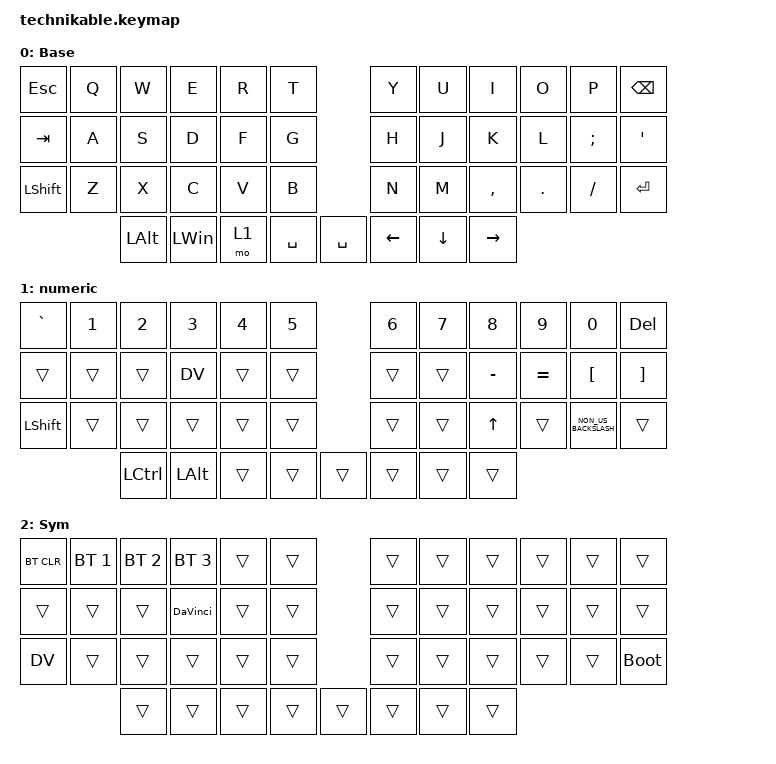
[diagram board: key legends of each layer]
/*
 * Copyright (c) 2022 Pete Johanson
 *
 * SPDX-License-Identifier: MIT
 */

#include <behaviors.dtsi>
#include <dt-bindings/zmk/bt.h>
#include <dt-bindings/zmk/keys.h>

#define BAS_L 0
#define NAV_L 1
#define NUM_L 2
#define SYM_L 3

// Using layer taps on thumbs, having quick tap as well helps w/ repeating space/backspace

&lt { quick_tap_ms = <200>; };

/ {
    chosen { zmk,matrix_transform = &ortho_transform; };

    conditional_layers { compatible = "zmk,conditional-layers"; };

    combos {
        compatible = "zmk,combos";

        sys {
            bindings = <&mo 2>;
            key-positions = <38 39>;
        };
    };

    macros {
        DaVinci: DaVinci {
            compatible = "zmk,behavior-macro";
            #binding-cells = <0>;
            bindings =
                <&macro_wait_time 3000>,
                <&kp LEFT_ALT &kp LEFT_WIN &kp C>,
                <&macro_wait_time 1000>,
                <&kp LEFT_ALT &kp LEFT_WIN &kp A>,
                <&macro_wait_time 1000>,
                <&kp LEFT_ALT &kp LEFT_SHIFT &kp D>,
                <&macro_wait_time 1000>,
                <&kp LEFT_ALT &kp LEFT_WIN &kp E>,
                <&macro_wait_time 1000>,
                <&kp LEFT_ALT &kp LEFT_WIN &kp M>;

            label = "DAVINCI";
        };

        DV: DV {
            compatible = "zmk,behavior-macro";
            #binding-cells = <0>;
            bindings = <&kp LG(LA(C)) &kp LG(LA(E)) &kp LG(LA(M)) &kp LA(LG(A)) &kp LA(LS(D))>;
            label = "DV";
        };
    };

    keymap {
        compatible = "zmk,keymap";

        base_layer {
            label = "Base";
            bindings = <
&kp ESC    &kp Q  &kp W         &kp E         &kp R  &kp T                 &kp Y     &kp U     &kp I            &kp O    &kp P     &kp BACKSPACE
&kp TAB    &kp A  &kp S         &kp D         &kp F  &kp G                 &kp H     &kp J     &kp K            &kp L    &kp SEMI  &kp SINGLE_QUOTE
&kp LSHFT  &kp Z  &kp X         &kp C         &kp V  &kp B                 &kp N     &kp M     &kp COMMA        &kp DOT  &kp FSLH  &kp RET
                  &kp LEFT_ALT  &kp LEFT_WIN  &mo 1  &kp SPACE  &kp SPACE  &kp LEFT  &kp DOWN  &kp RIGHT_ARROW
            >;
        };

        nav_layer {
            label = "numeric";
            bindings = <
&kp GRAVE       &kp NUMBER_1  &kp NUMBER_2      &kp NUMBER_3  &kp NUMBER_4  &kp N5          &kp NUMBER_6  &kp N7  &kp N8        &kp N9     &kp N0                &kp DEL
&trans          &trans        &trans            &DV           &trans        &trans          &trans        &trans  &kp MINUS     &kp EQUAL  &kp LEFT_BRACKET      &kp RIGHT_BRACKET
&kp LEFT_SHIFT  &trans        &trans            &trans        &trans        &trans          &trans        &trans  &kp UP_ARROW  &trans     &kp NON_US_BACKSLASH  &trans
                              &kp LEFT_CONTROL  &kp LEFT_ALT  &trans        &trans  &trans  &trans        &trans  &trans
            >;
        };

        sys {
            label = "Sym";
            bindings = <
&bt BT_CLR  &bt BT_SEL 1  &bt BT_SEL 2  &bt BT_SEL 3  &trans  &trans          &trans  &trans  &trans  &trans  &trans  &trans
&trans      &trans        &trans        &DaVinci      &trans  &trans          &trans  &trans  &trans  &trans  &trans  &trans
&DV         &trans        &trans        &trans        &trans  &trans          &trans  &trans  &trans  &trans  &trans  &bootloader
                          &trans        &trans        &trans  &trans  &trans  &trans  &trans  &trans
            >;
        };
    };
};
